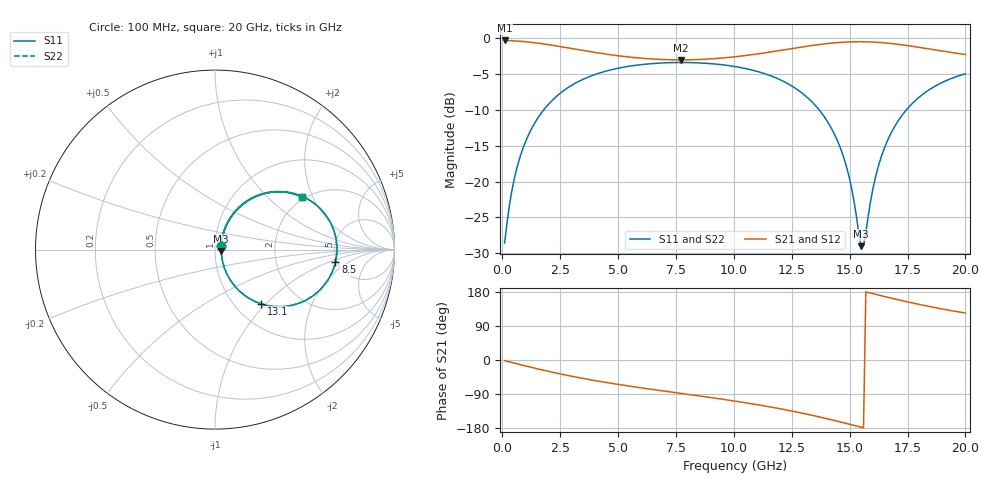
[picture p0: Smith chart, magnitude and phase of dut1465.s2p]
! Touchstone file exported from HFSS 2026.1.0
!  File:  C:/ffzhzh/LocalFiles/Ansys_Project_Files/temp_train_TSV_RDL_1465_1783360865_46376.aedt
!  Generated:  02:14:36 AM Jul  7, 2026
!  Design:  TSV_RDL
!  Project:  temp_train_TSV_RDL_1465_1783360865_46376
! Variables:
!  h_bsmrdl = 2.95um
!  h_ox = 20um
!  h_rdl = 5um
!  h_sub = 97.06um
!  h_tmrdl = 5.14um
!  h_tsv = 97.06um
!  h_via = 3um
!  l_bsmrdl = 775.74um
!  l_sub = 3680.04um
!  l_tmrdl = 215.63um
!  m_sub = 200um
!  pitch = 58.55um
!  r_tsv = 2.4um
!  s_tmrdl = 10um
!  w_bsmrdl = 19.61um
!  w_sub = 500um
!  w_tmrdl = 10.49um
!  x_tsv_center1 = 220.875um
!  x_tsv_center2 = 1016.225um
!  x_tsv_center3 = 1242.345um
!  x_tsv_center4 = 2037.695um
!  x_tsv_center5 = 2263.815um
!  x_tsv_center6 = 3059.165um
# GHz S MA R 50.000000
! Terminal data exported
! Port[1] = TM_RDL1_1_T1
! Port[2] = TM_RDL5_1_T1
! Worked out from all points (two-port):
!   200 points, 100 MHz to 20 GHz, reference 50 ohm
!   highest |S21| = -0.28 dB at 100 MHz (marker M1); lowest = -3.0 dB at 7.7 GHz (marker M2)
!   |S21| within 3 dB of the highest: start of sweep to end of sweep
!   lowest |S11| = -29.0 dB at 15.5 GHz (marker M3), VSWR 1.07, Z = 53.6 - j0.824 ohm
!   |S11| at or under -10 dB: start of sweep to 1.783 GHz; 13.69 GHz to 17.45 GHz (3.757 GHz wide, 24.1 % of centre)
!   |S22| runs from -28.9 to -3.4 dB; largest |S21 - S12| = 3.6e-14
!   S11 on the Smith chart (normalised r, x): 100 MHz: 1.07, +0.04; 8.5 GHz: 4.83, -1.22; 13.1 GHz: 1.31, -0.94; 20 GHz: 1.94, +1.67
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0.1  0.03733 30.4  0.9682 -1.6  0.9682 -1.6  0.03733 30.4
! Gamma 0 0 0 0
! Port Impedance 50 0 50 0
0.5  0.1017 63.0  0.962 -7.9  0.962 -7.9  0.1017 63.0
1.2  0.2235 62.7  0.9411 -18.6  0.9411 -18.6  0.2235 62.7
2.2  0.3755 52.2  0.8942 -32.7  0.8942 -32.7  0.3755 52.2
3.5  0.5196 37.9  0.8239 -48.8  0.8239 -48.8  0.5196 37.9
5.1  0.624 22.3  0.7535 -65.3  0.7535 -65.3  0.624 22.3
6.8  0.6729 7.9  0.7139 -80.4  0.7139 -80.4  0.6729 7.9
7.7  0.6794 0.6  0.7086 -88.0  0.7086 -88.0  0.6793 0.6
8.5  0.6748 -5.8  0.7129 -94.8  0.7129 -94.8  0.6748 -5.8
10.1  0.6343 -19.3  0.7462 -109.0  0.7462 -109.0  0.6342 -19.3
11.8  0.5319 -35.6  0.8147 -126.4  0.8147 -126.4  0.5319 -35.5
13.1  0.3965 -49.7  0.8797 -142.2  0.8797 -142.2  0.3965 -49.6
13.4  0.3571 -53.0  0.8941 -146.3  0.8941 -146.3  0.3571 -53.0
14.1  0.2537 -60.3  0.9233 -156.1  0.9233 -156.1  0.2537 -60.3
14.7  0.155 -63.9  0.9407 -165.0  0.9407 -165.0  0.1551 -63.8
15.1  0.0876 -59.5  0.947 -171.1  0.947 -171.1  0.08766 -59.4
15.5  0.03545 -12.5  0.9485 -177.2  0.9485 -177.2  0.0357 -12.4
15.6  0.03572 15.4  0.9481 -178.8  0.9481 -178.8  0.03599 15.3
16.2  0.1213 64.5  0.9395 172.1  0.9395 172.1  0.1214 64.4
16.7  0.2038 64.0  0.9249 164.6  0.9249 164.6  0.2038 64.0
18  0.3886 51.4  0.8668 146.7  0.8668 146.7  0.3886 51.3
20  0.567 30.9  0.7719 123.9  0.7719 123.9  0.567 30.9
